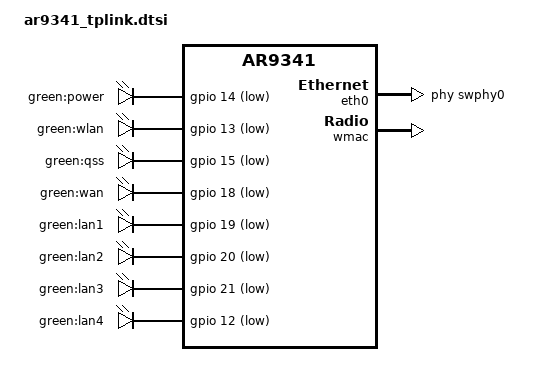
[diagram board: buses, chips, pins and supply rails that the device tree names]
// SPDX-License-Identifier: GPL-2.0-or-later OR MIT

#include "ar9341.dtsi"

#include <dt-bindings/gpio/gpio.h>
#include <dt-bindings/input/input.h>

/ {
	aliases {
		led-boot = &led_power;
		led-failsafe = &led_power;
		led-running = &led_power;
		led-upgrade = &led_power;
	};

	leds: leds {
		compatible = "gpio-leds";

		led_power: power {
			label = "green:power";
			gpios = <&gpio 14 GPIO_ACTIVE_LOW>;
			default-state = "on";
		};

		wlan {
			label = "green:wlan";
			gpios = <&gpio 13 GPIO_ACTIVE_LOW>;
			linux,default-trigger = "phy0tpt";
		};

		qss {
			label = "green:qss";
			gpios = <&gpio 15 GPIO_ACTIVE_LOW>;
		};

		wan {
			label = "green:wan";
			gpios = <&gpio 18 GPIO_ACTIVE_LOW>;
		};

		lan1 {
			label = "green:lan1";
			gpios = <&gpio 19 GPIO_ACTIVE_LOW>;
		};

		lan2 {
			label = "green:lan2";
			gpios = <&gpio 20 GPIO_ACTIVE_LOW>;
		};

		lan3 {
			label = "green:lan3";
			gpios = <&gpio 21 GPIO_ACTIVE_LOW>;
		};

		lan4 {
			label = "green:lan4";
			gpios = <&gpio 12 GPIO_ACTIVE_LOW>;
		};
	};
};

&ref {
	clock-frequency = <25000000>;
};

&gpio {
	pinctrl-names = "default";
	pinctrl-0 = <&jtag_disable_pins &pmx_usb_power>;
};

&pinmux {
	pmx_usb_power: usb_power {
		pinctrl-single,bits = <0x4 0x0 0xff>;
	};
};

&eth0 {
	status = "okay";

	phy-handle = <&swphy0>;
};

&eth1 {
	gmac-config {
		device = <&gmac>;
		switch-phy-swap = <1>;
	};
};

&wmac {
	status = "okay";
};
